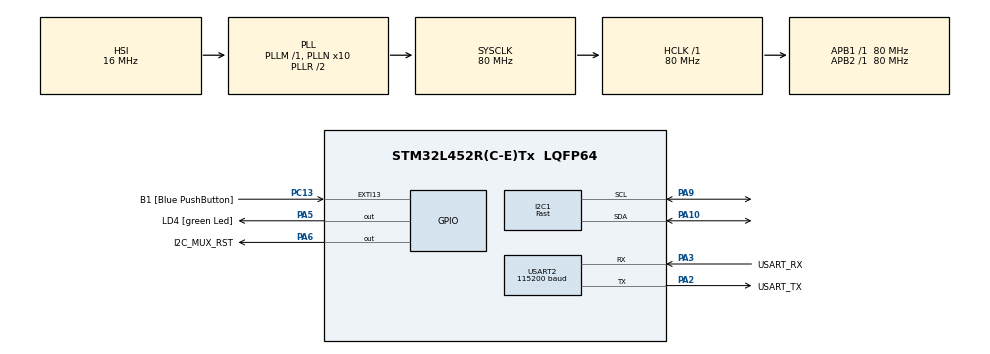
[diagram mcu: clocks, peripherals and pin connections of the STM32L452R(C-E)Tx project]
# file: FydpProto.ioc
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Dma.Request0=USART2_RX
Dma.Request1=USART2_TX
Dma.USART2_RX.0.Direction=DMA_PERIPH_TO_MEMORY
Dma.USART2_RX.0.Instance=DMA1_Channel6
Dma.USART2_RX.0.MemDataAlignment=DMA_MDATAALIGN_BYTE
Dma.USART2_RX.0.MemInc=DMA_MINC_ENABLE
Dma.USART2_RX.0.Mode=DMA_NORMAL
Dma.USART2_RX.0.PeriphDataAlignment=DMA_PDATAALIGN_BYTE
Dma.USART2_RX.0.PeriphInc=DMA_PINC_DISABLE
Dma.USART2_RX.0.Priority=DMA_PRIORITY_LOW
Dma.USART2_TX.1.Direction=DMA_MEMORY_TO_PERIPH
Dma.USART2_TX.1.Instance=DMA1_Channel7
Dma.USART2_TX.1.MemDataAlignment=DMA_MDATAALIGN_BYTE
Dma.USART2_TX.1.MemInc=DMA_MINC_ENABLE
Dma.USART2_TX.1.Mode=DMA_NORMAL
Dma.USART2_TX.1.PeriphDataAlignment=DMA_PDATAALIGN_BYTE
Dma.USART2_TX.1.PeriphInc=DMA_PINC_DISABLE
Dma.USART2_TX.1.Priority=DMA_PRIORITY_LOW
I2C1.I2C_Speed_Mode=I2C_Fast
I2C1.Timing=0x00702991
Mcu.Family=STM32L4
Mcu.Name=STM32L452R(C-E)Tx
Mcu.Package=LQFP64
NVIC.DMA1_Channel6_IRQn=true\:0\:0\:false\:false\:true\:false\:true
NVIC.DMA1_Channel7_IRQn=true\:0\:0\:false\:false\:true\:false\:true
NVIC.PriorityGroup=NVIC_PRIORITYGROUP_4
PA10.Mode=I2C
PA10.Signal=I2C1_SDA
PA13\ (JTMS/SWDIO).GPIO_Label=TMS
PA13\ (JTMS/SWDIO).Mode=Serial_Wire
PA13\ (JTMS/SWDIO).Signal=SYS_JTMS-SWDIO
PA14\ (JTCK/SWCLK).GPIO_Label=TCK
PA14\ (JTCK/SWCLK).Mode=Serial_Wire
PA14\ (JTCK/SWCLK).Signal=SYS_JTCK-SWCLK
PA2.GPIO_Label=USART_TX
PA2.GPIO_Mode=GPIO_MODE_AF_PP
PA2.GPIO_PuPd=GPIO_NOPULL
PA2.GPIO_Speed=GPIO_SPEED_FREQ_VERY_HIGH
PA2.Mode=Asynchronous
PA2.Signal=USART2_TX
PA3.GPIO_Label=USART_RX
PA3.GPIO_Mode=GPIO_MODE_AF_PP
PA3.GPIO_PuPd=GPIO_NOPULL
PA3.GPIO_Speed=GPIO_SPEED_FREQ_VERY_HIGH
PA3.Mode=Asynchronous
PA3.Signal=USART2_RX
PA5.GPIO_Label=LD4 [green Led]
PA5.GPIO_ModeDefaultOutputPP=GPIO_MODE_OUTPUT_PP
PA5.GPIO_PuPd=GPIO_NOPULL
PA5.GPIO_Speed=GPIO_SPEED_FREQ_LOW
PA5.Signal=GPIO_Output
PA6.GPIO_Label=I2C_MUX_RST
PA6.PinState=GPIO_PIN_SET
PA6.Signal=GPIO_Output
PA9.Mode=I2C
PA9.Signal=I2C1_SCL
PB3\ (JTDO/TRACESWO).GPIO_Label=SWO
PB3\ (JTDO/TRACESWO).Signal=SYS_JTDO-SWO
PC13.GPIO_Label=B1 [Blue PushButton]
PC13.GPIO_ModeDefaultEXTI=GPIO_MODE_IT_FALLING
PC13.GPIO_PuPd=GPIO_NOPULL
PC13.Signal=GPXTI13
PC14-OSC32_IN\ (PC14).Mode=LSE-External-Oscillator
PC14-OSC32_IN\ (PC14).Signal=RCC_OSC32_IN
PC15-OSC32_OUT\ (PC15).Mode=LSE-External-Oscillator
PC15-OSC32_OUT\ (PC15).Signal=RCC_OSC32_OUT
PH0-OSC_IN\ (PH0).Signal=RCC_OSC_IN
PH1-OSC_OUT\ (PH1).Signal=RCC_OSC_OUT
ProjectManager.HeapSize=0x200
ProjectManager.StackSize=0x400
ProjectManager.TargetToolchain=SW4STM32
RCC.ADCFreq_Value=64000000
RCC.AHBFreq_Value=80000000
RCC.APB1Freq_Value=80000000
RCC.APB1TimFreq_Value=80000000
RCC.APB2Freq_Value=80000000
RCC.APB2TimFreq_Value=80000000
RCC.CortexFreq_Value=80000000
RCC.HCLKFreq_Value=80000000
RCC.HSE_VALUE=8000000
RCC.HSI48_VALUE=48000000
RCC.HSI_VALUE=16000000
RCC.MSI_VALUE=4000000
RCC.PLLN=10
RCC.PLLSourceVirtual=RCC_PLLSOURCE_HSI
RCC.SYSCLKFreq_VALUE=80000000
RCC.SYSCLKSource=RCC_SYSCLKSOURCE_PLLCLK
RCC.USBFreq_Value=64000000
RCC.VCOOutputFreq_Value=160000000
USART2.BaudRate=115200
USART2.SwapParam=ADVFEATURE_SWAP_DISABLE
USART2.VirtualMode-Asynchronous=VM_ASYNC
board=NUCLEO-L452RE

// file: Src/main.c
/* USER CODE BEGIN Header */
/**
  ******************************************************************************
  * @file           : main.c
  * @brief          : Main program body
  ******************************************************************************
  * @attention
  *
  * <h2><center>&copy; Copyright (c) 2019 STMicroelectronics.
  * All rights reserved.</center></h2>
  *
  * This software component is licensed by ST under BSD 3-Clause license,
  * the "License"; You may not use this file except in compliance with the
  * License. You may obtain a copy of the License at:
  *                        opensource.org/licenses/BSD-3-Clause
  *
  ******************************************************************************
  */
/* USER CODE END Header */

#include "main.h"

/* USER CODE BEGIN Includes */
#include "stdio.h"
#include "stdint.h"
#include "stdbool.h"
#include "unistd.h"

#include "glove_status_codes.h"
#include "hand.h"
#include "queue.h"
#include "scheduler.h"
#include "serial.h"
#include "sm.h"
#include "TCA9548A.h"
/* USER CODE END Includes */

/* USER CODE BEGIN PD */
#define UART_TIMEOUT 100
#define I2C_TIMEOUT 1000

/* USER CODE END PD */

I2C_HandleTypeDef hi2c1;

UART_HandleTypeDef huart2;
DMA_HandleTypeDef hdma_usart2_rx;
DMA_HandleTypeDef hdma_usart2_tx;

/* USER CODE BEGIN PV */
bool gfEnablePrintf = true;
/* USER CODE END PV */

void SystemClock_Config(void);
static void MX_GPIO_Init(void);
static void MX_DMA_Init(void);
static void MX_I2C1_Init(void);
static void MX_USART2_UART_Init(void);
/* USER CODE BEGIN PFP */
glove_status_t queue_test();
glove_status_t scheduler_tests();

/* USER CODE END PFP */

int main(void)
{
  /* USER CODE BEGIN 1 */
  glove_status_t status = GLOVE_STATUS_OK;

  /* USER CODE END 1 */

  /* MCU Configuration--------------------------------------------------------*/

  /* Reset of all peripherals, Initializes the Flash interface and the Systick. */
  HAL_Init();

  /* Configure the system clock */
  SystemClock_Config();

  /* Initialize all configured peripherals */
  MX_GPIO_Init();
  MX_DMA_Init();
  MX_I2C1_Init();
  MX_USART2_UART_Init();
  /* USER CODE BEGIN 2 */
  HAL_Delay(200);
  printf("Hello world!!\r\n");
  // while (1) {
  //   printf("Hello world!!!\r\n");
  //   HAL_Delay(200);
  // }

  // blinky
  // while (1)
  // {
  //   HAL_GPIO_TogglePin(I2C_MUX_RST_GPIO_Port, I2C_MUX_RST_Pin);
  //   HAL_Delay(100);
  // }

  // initialize the serial interface wrapper
  if ((status = Serial_Init(&huart2)))
  {
    printf("Serial interface init failed, status=%X\r\n", status);
  }

  // loop printf
  // while (1)
  // {
  //   printf("Hello world!!!\r\n");
  //   HAL_Delay(100);
  // }

  // initialize the I2C mux
  if ( (status = I2CMux_Init(&hi2c1)) )
  {
    printf("I2C mux init failed, status=%X\r\n", status);
  }

  // // select the first bus
  // if ( (status = I2CMux_Select(1)) )
  // {
  //   printf("I2C mux select failed, status=%X\r\n", status);
  // }

  // initialize Hand
  if ( (status = Hand_Init(&hi2c1)) )
  {
    printf("Hand init failed, status=%x\r\n", status);
  }

  // state machine
  if ((status = SM_Init()))
  {
    printf("State machine init failed\r\n");
  }

  // scheduler
  if ((status = Scheduler_Init()))
  {
    printf("Scheduler init failed\r\n");
  }

  // status = queue_test();
  // if (GLOVE_STATUS_OK != status)
  // {
  //   printf("Queue tests failed!, status = %X\r\n", status);
  // }
  // else
  // {
  //   printf("Queue tests passed!\r\n");
  // }

  // status = scheduler_tests();
  // if (GLOVE_STATUS_OK != status)
  // {
  //   printf("Scheduler tests failed!, status = %X\r\n", status);
  // }
  // else
  // {
  //   printf("Scheduler tests passed!\r\n");
  // }

  // if ((status = IMU_ReadAll(&motionData)))
  // {
  //   printf("IMU read all failed\r\n");
  // }

  printf("Main pre-loop done\r\n");

  HAL_Delay(200);

  gfEnablePrintf = false;

  /* USER CODE END 2 */

  /* Infinite loop */
  /* USER CODE BEGIN WHILE */
  // SM_PostEvent(EVENT_START_TRANSFERRING);
  while (1)
  {
    SM_Tick();
    Scheduler_Tick();
    /* USER CODE END WHILE */

  }
}

void SystemClock_Config(void)
{
  RCC_OscInitTypeDef RCC_OscInitStruct = {0};
  RCC_ClkInitTypeDef RCC_ClkInitStruct = {0};
  RCC_PeriphCLKInitTypeDef PeriphClkInit = {0};

  /** Initializes the CPU, AHB and APB busses clocks
  */
  RCC_OscInitStruct.OscillatorType = RCC_OSCILLATORTYPE_HSI;
  RCC_OscInitStruct.HSIState = RCC_HSI_ON;
  RCC_OscInitStruct.HSICalibrationValue = RCC_HSICALIBRATION_DEFAULT;
  RCC_OscInitStruct.PLL.PLLState = RCC_PLL_ON;
  RCC_OscInitStruct.PLL.PLLSource = RCC_PLLSOURCE_HSI;
  RCC_OscInitStruct.PLL.PLLM = 1;
  RCC_OscInitStruct.PLL.PLLN = 10;
  RCC_OscInitStruct.PLL.PLLP = RCC_PLLP_DIV7;
  RCC_OscInitStruct.PLL.PLLQ = RCC_PLLQ_DIV2;
  RCC_OscInitStruct.PLL.PLLR = RCC_PLLR_DIV2;
  if (HAL_RCC_OscConfig(&RCC_OscInitStruct) != HAL_OK)
  {
    Error_Handler();
  }
  /** Initializes the CPU, AHB and APB busses clocks
  */
  RCC_ClkInitStruct.ClockType = RCC_CLOCKTYPE_HCLK|RCC_CLOCKTYPE_SYSCLK
                              |RCC_CLOCKTYPE_PCLK1|RCC_CLOCKTYPE_PCLK2;
  RCC_ClkInitStruct.SYSCLKSource = RCC_SYSCLKSOURCE_PLLCLK;
  RCC_ClkInitStruct.AHBCLKDivider = RCC_SYSCLK_DIV1;
  RCC_ClkInitStruct.APB1CLKDivider = RCC_HCLK_DIV1;
  RCC_ClkInitStruct.APB2CLKDivider = RCC_HCLK_DIV1;

  if (HAL_RCC_ClockConfig(&RCC_ClkInitStruct, FLASH_LATENCY_4) != HAL_OK)
  {
    Error_Handler();
  }
  PeriphClkInit.PeriphClockSelection = RCC_PERIPHCLK_USART2|RCC_PERIPHCLK_I2C1;
  PeriphClkInit.Usart2ClockSelection = RCC_USART2CLKSOURCE_PCLK1;
  PeriphClkInit.I2c1ClockSelection = RCC_I2C1CLKSOURCE_PCLK1;
  if (HAL_RCCEx_PeriphCLKConfig(&PeriphClkInit) != HAL_OK)
  {
    Error_Handler();
  }
  /** Configure the main internal regulator output voltage
  */
  if (HAL_PWREx_ControlVoltageScaling(PWR_REGULATOR_VOLTAGE_SCALE1) != HAL_OK)
  {
    Error_Handler();
  }
}

static void MX_I2C1_Init(void)
{

  hi2c1.Instance = I2C1;
  hi2c1.Init.Timing = 0x00702991;
  hi2c1.Init.OwnAddress1 = 0;
  hi2c1.Init.AddressingMode = I2C_ADDRESSINGMODE_7BIT;
  hi2c1.Init.DualAddressMode = I2C_DUALADDRESS_DISABLE;
  hi2c1.Init.OwnAddress2 = 0;
  hi2c1.Init.OwnAddress2Masks = I2C_OA2_NOMASK;
  hi2c1.Init.GeneralCallMode = I2C_GENERALCALL_DISABLE;
  hi2c1.Init.NoStretchMode = I2C_NOSTRETCH_DISABLE;
  if (HAL_I2C_Init(&hi2c1) != HAL_OK)
  {
    Error_Handler();
  }
  /** Configure Analogue filter
  */
  if (HAL_I2CEx_ConfigAnalogFilter(&hi2c1, I2C_ANALOGFILTER_ENABLE) != HAL_OK)
  {
    Error_Handler();
  }
  /** Configure Digital filter
  */
  if (HAL_I2CEx_ConfigDigitalFilter(&hi2c1, 0) != HAL_OK)
  {
    Error_Handler();
  }

}

static void MX_USART2_UART_Init(void)
{

  huart2.Instance = USART2;
  huart2.Init.BaudRate = 115200;
  huart2.Init.WordLength = UART_WORDLENGTH_8B;
  huart2.Init.StopBits = UART_STOPBITS_1;
  huart2.Init.Parity = UART_PARITY_NONE;
  huart2.Init.Mode = UART_MODE_TX_RX;
  huart2.Init.HwFlowCtl = UART_HWCONTROL_NONE;
  huart2.Init.OverSampling = UART_OVERSAMPLING_16;
  huart2.Init.OneBitSampling = UART_ONE_BIT_SAMPLE_DISABLE;
  huart2.AdvancedInit.AdvFeatureInit = UART_ADVFEATURE_NO_INIT;
  if (HAL_UART_Init(&huart2) != HAL_OK)
  {
    Error_Handler();
  }

}

static void MX_DMA_Init(void)
{
  /* DMA controller clock enable */
  __HAL_RCC_DMA1_CLK_ENABLE();

  /* DMA interrupt init */
  /* DMA1_Channel6_IRQn interrupt configuration */
  HAL_NVIC_SetPriority(DMA1_Channel6_IRQn, 0, 0);
  HAL_NVIC_EnableIRQ(DMA1_Channel6_IRQn);
  /* DMA1_Channel7_IRQn interrupt configuration */
  HAL_NVIC_SetPriority(DMA1_Channel7_IRQn, 0, 0);
  HAL_NVIC_EnableIRQ(DMA1_Channel7_IRQn);

}

static void MX_GPIO_Init(void)
{
  GPIO_InitTypeDef GPIO_InitStruct = {0};

  /* GPIO Ports Clock Enable */
  __HAL_RCC_GPIOC_CLK_ENABLE();
  __HAL_RCC_GPIOH_CLK_ENABLE();
  __HAL_RCC_GPIOA_CLK_ENABLE();
  __HAL_RCC_GPIOB_CLK_ENABLE();

  /*Configure GPIO pin Output Level */
  HAL_GPIO_WritePin(LD4_GPIO_Port, LD4_Pin, GPIO_PIN_RESET);

  /*Configure GPIO pin Output Level */
  HAL_GPIO_WritePin(I2C_MUX_RST_GPIO_Port, I2C_MUX_RST_Pin, GPIO_PIN_SET);

  /*Configure GPIO pin : B1_Pin */
  GPIO_InitStruct.Pin = B1_Pin;
  GPIO_InitStruct.Mode = GPIO_MODE_IT_FALLING;
  GPIO_InitStruct.Pull = GPIO_NOPULL;
  HAL_GPIO_Init(B1_GPIO_Port, &GPIO_InitStruct);

  /*Configure GPIO pins : LD4_Pin I2C_MUX_RST_Pin */
  GPIO_InitStruct.Pin = LD4_Pin|I2C_MUX_RST_Pin;
  GPIO_InitStruct.Mode = GPIO_MODE_OUTPUT_PP;
  GPIO_InitStruct.Pull = GPIO_NOPULL;
  GPIO_InitStruct.Speed = GPIO_SPEED_FREQ_LOW;
  HAL_GPIO_Init(GPIOA, &GPIO_InitStruct);

}

/* USER CODE BEGIN 4 */

int _write(int file, char *data, int len)
{
    if ((file != STDOUT_FILENO) && (file != STDERR_FILENO))
    {
        return -1;
    }
    if (gfEnablePrintf)
    {
	    return HAL_UART_Transmit(&huart2, (uint8_t *)data, len, UART_TIMEOUT);
    }
    return 0;
}

// ****************** Tests *************************************
// TODO: find a better place to put these tests
void sm_test()
{
  // sm test
  SM_Init();
  SM_Tick();
  SM_PostEvent(EVENT_START_TRANSFERRING);
  SM_Tick();
  SM_PostEvent(EVENT_STOP_TRANSFERRING);
  SM_Tick();
  SM_Tick();
  SM_PostEvent(EVENT_NONE);
  SM_Tick();
}

glove_status_t queue_test()
{
  queue_t testQueue = {0};
  glove_status_t status = GLOVE_STATUS_OK;
  uint8_t i = 0;
  uint32_t * item = NULL;
  uint32_t items[16] = {0};

  // initialize to numbers 0 to 15
  for (uint8_t i = 0; i < 16; ++i)
  {
    items[i] = i;
  }

  // enqueue 4 items and then dequeue them
  printf("%s simple enqueue dequeue\r\n", __FUNCTION__);
  status = Queue_Init(&testQueue, 4);
  CHECK_STATUS_OK_RET(status);
  for (i = 0; i < 4; ++i)
  {
    status = Queue_Enqueue(&testQueue, items + i);
    CHECK_STATUS_OK_RET(status);
  }
  for (i = 0; i < 4; ++i)
  {
    item = (uint32_t *)Queue_Dequeue(&testQueue);
    CHECK_NULL_RET(item);
    if (i != *item)
    {
      printf("Test fail: %s:%d, i=%d, *item=%lu\r\n", __FUNCTION__, __LINE__, i, *item);
      return GLOVE_STATUS_FAIL;
    }
  }

  // enqueue 8 items, dequeing right after enqueue
  printf("%s enqueue immediate dequeue\r\n", __FUNCTION__);
  status = Queue_Init(&testQueue, 4);
  CHECK_STATUS_OK_RET(status);
  for (i = 0 ; i < 8; ++i)
  {
    status = Queue_Enqueue(&testQueue, items + i);
    CHECK_STATUS_OK_RET(status);
    item = (uint32_t *)Queue_Dequeue(&testQueue);
    CHECK_NULL_RET(item);
    if (i != *item)
    {
      printf("Test fail: %s:%d\r\n", __FUNCTION__, __LINE__);
      return GLOVE_STATUS_FAIL;
    }
  }

  // enqueue more 9 items in a queue, and make sure that only the last 8 are dequeued
  printf("%s enqueue 1 extra \r\n", __FUNCTION__);
  status = Queue_Init(&testQueue, 8);
  for (i = 0; i < 9; ++i)
  {
    status = Queue_Enqueue(&testQueue, items + i);
    CHECK_STATUS_OK_RET(status)
  }
  for (i = 0; i < 8; ++i)
  {
    item = (uint32_t *)Queue_Dequeue(&testQueue);
    CHECK_NULL_RET(item);

    if (i + 1 != *item)
    {
      printf("Test fail: %s:%d\r\n", __FUNCTION__, __LINE__);
      return GLOVE_STATUS_FAIL;
    }
  }

  // enqueue 16 items in a 8-item queue, and make sure that only the last 8 are dequeued
  printf("%s enqueue 2x extra \r\n", __FUNCTION__);
  status = Queue_Init(&testQueue, 8);
  for (i = 0; i < 16; ++i)
  {
    status = Queue_Enqueue(&testQueue, items + i);
    CHECK_STATUS_OK_RET(status);
  }
  for (i = 0; i < 8; ++i)
  {
    item = (uint32_t *)Queue_Dequeue(&testQueue);
    CHECK_NULL_RET(item);
    if (i + 8 != *item)
    {
      printf("Test fail: %s:%d\r\n", __FUNCTION__, __LINE__);
      return GLOVE_STATUS_FAIL;
    }
  }

  // try to dequeue from an empty queue, should be null
  printf("%s dequeue empty \r\n", __FUNCTION__);
  status = Queue_Init(&testQueue, 4);
  CHECK_STATUS_OK_RET(status);
  item = Queue_Dequeue(&testQueue);
  if (item)
  {
    printf("Test fail: %s:%d\r\n", __FUNCTION__, __LINE__);
    return GLOVE_STATUS_FAIL;
  }
  return GLOVE_STATUS_OK;
}

glove_status_t empty_task()
{
  return GLOVE_STATUS_OK;
}
task_t emptyTask =
{
  .pTaskFn = &empty_task,
  .name = "Empty Task"
};

uint32_t test_counter = 0;
glove_status_t test_task()
{
  ++test_counter;
  return GLOVE_STATUS_OK;
}
task_t testTask =
{
  .pTaskFn = &test_task,
  .name = "Test task"
};

glove_status_t scheduler_tests()
{
  glove_status_t status = GLOVE_STATUS_OK;
  uint32_t i = 0;

  status = Scheduler_Init();
  CHECK_STATUS_OK_RET(status);

  // add an empty task and tick once
  status = Scheduler_AddTask(&emptyTask);
  CHECK_STATUS_OK_RET(status);
  status = Scheduler_Tick();

  // add one of the test_tasks and tick once
  status = Scheduler_AddTask(&testTask);
  CHECK_STATUS_OK_RET(status);
  status = Scheduler_Tick();
  if (test_counter != 1)
  {
    printf("test fail %s:%d, test_counter = %lu\r\n", __FUNCTION__, __LINE__, test_counter);
    return GLOVE_STATUS_FAIL;
  }

  // add multiple test_tasks and tick until they should all be done
  test_counter = 0;
  for (i = 0; i < SCHEDULER_MAX_NUM_TASKS; ++i)
  {
    status = Scheduler_AddTask(&testTask);
    CHECK_STATUS_OK_RET(status);
  }
  for (i = 0; i < SCHEDULER_MAX_NUM_TASKS; ++i)
  {
    Scheduler_Tick();
    CHECK_STATUS_OK_RET(status);
  }
  if (test_counter != SCHEDULER_MAX_NUM_TASKS)
  {
    printf("test fail %s:%d, test_counter = %lu\r\n", __FUNCTION__, __LINE__, test_counter);
    return GLOVE_STATUS_FAIL;
  }

  return GLOVE_STATUS_OK;
}

/* USER CODE END 4 */

void Error_Handler(void)
{
}

/************************ (C) COPYRIGHT STMicroelectronics *****END OF FILE****/
